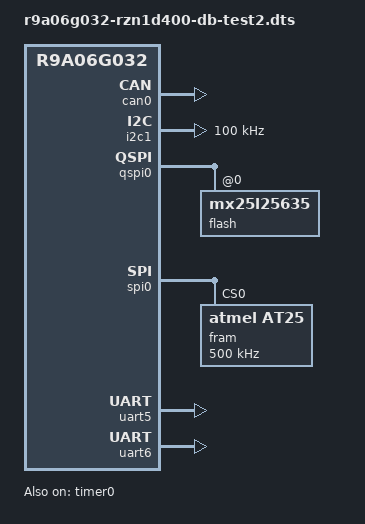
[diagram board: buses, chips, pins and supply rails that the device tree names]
/*
 * Device Tree Source for the Renesas RZ/N1D Demo Board
 *
 * This DTS is only used for testing purposes, it should not normally be used.
 * The UARTs that are enabled are accessed via the PMOD connectors and so need
 * the corresponding PinMux changes. It also needs the PMOD switch setting.
 */

#include "r9a06g032-db-both-gmacs.dts"
#include "r9a06g032-db-pinmux-test2.dts"

&can0 {
	/* Ext Board */
	status = "okay";
};
&i2c1 {
	clock-frequency = <100000>;
};
&qspi0 {
	flash: mx25l25635@0 {
		spi-rx-bus-width = <2>;
		renesas,rzn1-read-cmd = <0x3b 8 0>;
	};
};
&spi0 {
	/* Ext Board: Serial (SPI) F-RAM device (FM25V10-G) */
	fram: fm25@0 {
		compatible = "atmel,at25";
		reg = <0>;
		/* Max freq supported by RZ/N1 */
		spi-max-frequency = <500000>;
		size = <131072>;
		address-width = <24>;
		pagesize = <4096>;
	};
};

&timer0 {
	status = "okay";
	/* Enable the /25 prescaler only on the 16-bit timers */
	renesas,clk-prescaler = <1 1 1 1 1 1 0 0>;
	renesas,timer-rating = <150 150 150 150 150 150 460 460>;
};

&uart5 {
	/* PMOD1 on Ext Board CN2 - PinMux need changing for this */
	status = "okay";
	dmas =  <&dmamux 4 0 0 0 4 1>, <&dmamux 5 0 0 0 5 1>;
	dma-names = "rx", "tx";
};

&uart6 {
	/* PMOD2 on Ext Board CN3 - PinMux need changing for this */
	status = "okay";
	dmas =  <&dmamux 6 0 0 0 6 1>, <&dmamux 7 0 0 0 7 1>;
	dma-names = "rx", "tx";
};
